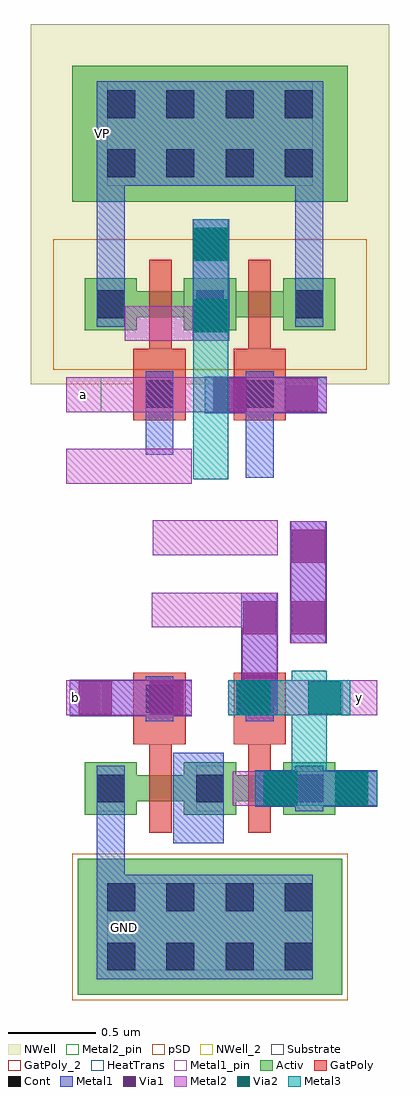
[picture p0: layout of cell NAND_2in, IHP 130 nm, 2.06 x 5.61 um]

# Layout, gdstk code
from math import pi, radians
import gdstk
lib = gdstk.Library(unit=1e-6, precision=1e-09)
def R(c, l, rs):  # rectangles x0, y0, x1, y1
    for r in rs: c.add(gdstk.rectangle(r[:2], r[2:], *l))
def A(c, l, x, y, w, h, nx, ny, dx, dy):  # array of equal rectangles
    R(c, l, [(x+i*dx, y+j*dy, x+i*dx+w, y+j*dy+h) for i in range(nx) for j in range(ny)])
Activ = (1, 0)
GatPoly = (5, 0)
GatPoly_2 = (5, 2)
Cont = (6, 0)
Metal1 = (8, 0)
Metal1_pin = (8, 2)
Metal2 = (10, 0)
Metal2_pin = (10, 2)
pSD = (14, 0)
Via1 = (19, 0)
Via2 = (29, 0)
Metal3 = (30, 0)
NWell = (31, 0)
NWell_2 = (31, 2)
Substrate = (40, 0)
HeatTrans = (51, 0)

via_2 = lib.new_cell('Via$2')
R(via_2, Metal1, [(-0.105,-0.35,0.105,0.35)])
R(via_2, Metal2, [(-0.1,-0.35,0.1,0.35)])
R(via_2, Via1, [(-0.095,-0.3,0.095,-0.11), (-0.095,0.11,0.095,0.3)])

nmos = lib.new_cell('nmos')
R(nmos, Activ, [(0,0,0.3,0.3), (0.57,0,0.87,0.3), (0,0.075,0.87,0.225)])
R(nmos, GatPoly, [(0.37,-0.105,0.5,0.405)])
R(nmos, GatPoly_2, [(0.37,-0.105,0.5,0.405)])
R(nmos, Cont, [(0.07,0.07,0.23,0.23), (0.64,0.07,0.8,0.23)])
R(nmos, Metal1, [(0.07,0.02,0.23,0.28), (0.64,0.02,0.8,0.28)])
R(nmos, Metal1_pin, [(0.07,0.02,0.23,0.28), (0.64,0.02,0.8,0.28)])
R(nmos, HeatTrans, [(0.37,-0.105,0.5,0.405)])
nmos.add(gdstk.Label('nmos', (0.435,0.15), layer=63, texttype=0))
nmos.add(gdstk.Label('nmos', (0.435,0.15), layer=51, texttype=0))

pmos = lib.new_cell('pmos')
R(pmos, Activ, [(0,0,0.3,0.3), (0.57,0,0.87,0.3), (0,0.075,0.87,0.225)])
R(pmos, GatPoly, [(0.37,-0.105,0.5,0.405), (0.37,-0.105,0.5,0.405)])
R(pmos, Cont, [(0.07,0.07,0.23,0.23), (0.64,0.07,0.8,0.23)])
R(pmos, Metal1, [(0.07,0.02,0.23,0.28), (0.07,0.02,0.23,0.28), (0.64,0.02,0.8,0.28), (0.64,0.02,0.8,0.28)])
R(pmos, pSD, [(-0.18,-0.225,1.05,0.525)])
R(pmos, NWell, [(-0.31,-0.31,1.18,0.61)])
R(pmos, Substrate, [(0.57,0,0.87,0.3)])
R(pmos, HeatTrans, [(0.37,-0.105,0.5,0.405)])
pmos.add(gdstk.Label('pmos', (0.435,0.15), layer=63, texttype=0))
pmos.add(gdstk.Label('pmos', (0.435,0.15), layer=51, texttype=0))

ntap1 = lib.new_cell('ntap1')
R(ntap1, Activ, [(0,0,1.58,0.78)])
A(ntap1, Cont, 0.2, 0.14, 0.16, 0.16, 4, 2, 0.34, 0.34)
R(ntap1, Metal1, [(0.2,0.09,1.38,0.69)])
R(ntap1, Metal1_pin, [(0.2,0.09,1.38,0.69), (0.2,0.14,1.38,0.64)])
R(ntap1, NWell, [(-0.24,-0.24,1.82,1.02), (0,0,1.58,0.78)])
R(ntap1, NWell_2, [(0,0,1.58,0.78)])
ntap1.add(gdstk.Label('well', (0.79,0.01), layer=63, texttype=0))
ntap1.add(gdstk.Label('well', (0.79,0.01), layer=31, texttype=0))

ptap1 = lib.new_cell('ptap1')
R(ptap1, Activ, [(0,0,1.52,0.78)])
A(ptap1, Cont, 0.17, 0.14, 0.16, 0.16, 4, 2, 0.34, 0.34)
R(ptap1, Metal1, [(0.17,0.09,1.35,0.69), (0.17,0.14,1.35,0.64)])
R(ptap1, Metal1_pin, [(0.17,0.14,1.35,0.64)])
R(ptap1, pSD, [(-0.03,-0.03,1.55,0.81)])
R(ptap1, Substrate, [(0,0,1.52,0.78)])
ptap1.add(gdstk.Label('sub!', (0.76,0.01), layer=63, texttype=0))
ptap1.add(gdstk.Label('sub!', (0.76,0.01), layer=40, texttype=0))

via = lib.new_cell('Via')
R(via, GatPoly, [(-0.15,-0.15,0.15,0.15)])
R(via, Cont, [(-0.08,-0.08,0.08,0.08)])
R(via, Metal1, [(-0.13,-0.08,0.13,0.08)])

via_7 = lib.new_cell('Via$7')
R(via_7, Metal2, [(-0.35,-0.1,0.35,0.1)])
R(via_7, Via2, [(-0.3,-0.095,-0.11,0.095), (0.11,-0.095,0.3,0.095)])
R(via_7, Metal3, [(-0.35,-0.1,0.35,0.1)])

via_4 = lib.new_cell('Via$4')
R(via_4, Metal2, [(-0.1,-0.35,0.1,0.35)])
R(via_4, Via2, [(-0.095,-0.3,0.095,-0.11), (-0.095,0.11,0.095,0.3)])
R(via_4, Metal3, [(-0.1,-0.35,0.1,0.35)])

nand_2in = lib.new_cell('NAND_2in')
R(nand_2in, GatPoly, [(6.865,7.63,7.165,7.74), (7.44,7.63,7.74,7.74), (6.865,9.79,7.165,9.9), (7.44,9.79,7.74,9.9)])
R(nand_2in, Metal1, [(7.095,7.06,7.385,7.58)])
R(nand_2in, Metal1_pin, [(6.715,6.475,6.915,6.675), (6.715,11.035,6.915,11.235)])
R(nand_2in, Metal2, [(6.48,7.795,7.2,7.995), (6.97,8.3,7.69,8.5), (6.975,8.715,7.695,8.915), (6.48,9.125,7.2,9.325)])
R(nand_2in, Metal2_pin, [(6.48,7.795,6.68,7.995), (8.065,7.795,8.265,7.995), (6.48,9.535,6.68,9.735)])
nand_2in.add(gdstk.FlexPath([(6.735,7.245),(6.735,6.88)], 0.16, ends="flush", simple_path=True, layer=8, datatype=0))  # Metal1
nand_2in.add(gdstk.FlexPath([(7.915,7.375),(7.915,7.375)], 0.16, ends="flush", simple_path=True, layer=8, datatype=0))  # Metal1
nand_2in.add(gdstk.FlexPath([(6.735,6.88),(6.735,6.28)], 0.16, ends="flush", simple_path=True, layer=8, datatype=0))  # Metal1
nand_2in.add(gdstk.FlexPath([(7.875,10.155),(7.875,10.835)], 0.16, ends="flush", simple_path=True, layer=8, datatype=0))  # Metal1
nand_2in.add(gdstk.FlexPath([(6.735,10.155),(6.735,10.835)], 0.16, ends="flush", simple_path=True, layer=8, datatype=0))  # Metal1
nand_2in.add(gdstk.FlexPath([(7.015,9.51),(7.015,9.29)], 0.16, ends="flush", simple_path=True, layer=8, datatype=0))  # Metal1
nand_2in.add(gdstk.FlexPath([(7.59,9.16),(7.59,9.51)], 0.16, ends="flush", simple_path=True, layer=8, datatype=0))  # Metal1
nand_2in.add(gdstk.FlexPath([(7.015,9.375),(7.015,9.375)], 0.16, ends="flush", simple_path=True, layer=8, datatype=0))  # Metal1
nand_2in.add(gdstk.FlexPath([(6.735,10.835),(6.735,11.435)], 0.16, ends="flush", simple_path=True, layer=8, datatype=0))  # Metal1
nand_2in.add(gdstk.FlexPath([(7.875,10.835),(7.875,11.435)], 0.16, ends="flush", simple_path=True, layer=8, datatype=0))  # Metal1
nand_2in.add(gdstk.FlexPath([(7.41,7.895),(8.265,7.895)], 0.2, ends="flush", simple_path=True, layer=10, datatype=0))  # Metal2
nand_2in.add(gdstk.FlexPath([(7.915,7.375),(7.915,7.375)], 0.2, ends="flush", simple_path=True, layer=10, datatype=0))  # Metal2
nand_2in.add(gdstk.FlexPath([(8.265,7.375),(7.435,7.375)], 0.2, ends="flush", simple_path=True, layer=10, datatype=0))  # Metal2
nand_2in.add(gdstk.FlexPath([(7.305,10.045),(6.815,10.045)], 0.2, ends="flush", simple_path=True, layer=10, datatype=0))  # Metal2
nand_2in.add(gdstk.FlexPath([(6.48,9.635),(7.975,9.635)], 0.2, ends="flush", simple_path=True, layer=10, datatype=0))  # Metal2
nand_2in.add(gdstk.FlexPath([(7.875,7.375),(7.875,8.05)], 0.2, ends="flush", simple_path=True, layer=30, datatype=0))  # Metal3
nand_2in.add(gdstk.FlexPath([(7.31,10.095),(7.31,9.15)], 0.2, ends="flush", simple_path=True, layer=30, datatype=0))  # Metal3
nand_2in.add(gdstk.FlexPath([(7.02,9.9),(7.02,9.9)], 0.16, ends="flush", simple_path=True, layer=5, datatype=0))  # GatPoly
nand_2in.add(gdstk.Reference(via_2, (6.85,7.895), rotation=3*pi/2))
nand_2in.add(gdstk.Reference(nmos, (6.585,7.225)))
nand_2in.add(gdstk.Reference(pmos, (6.585,10.005)))
nand_2in.add(gdstk.Reference(nmos, (7.155,7.225)))
nand_2in.add(gdstk.Reference(ntap1, (6.515,10.745)))
nand_2in.add(gdstk.Reference(ptap1, (6.545,6.19)))
nand_2in.add(gdstk.Reference(via, (7.015,9.64), rotation=pi/2))
nand_2in.add(gdstk.Reference(pmos, (7.155,10.005)))
nand_2in.add(gdstk.Reference(via, (7.59,9.64), rotation=pi/2))
nand_2in.add(gdstk.Reference(via, (7.59,7.89), rotation=3*pi/2))
nand_2in.add(gdstk.Reference(via, (7.015,7.89), rotation=3*pi/2))
nand_2in.add(gdstk.Reference(via_2, (7.625,9.635), rotation=3*pi/2))
nand_2in.add(gdstk.Reference(via_7, (7.76,7.895)))
nand_2in.add(gdstk.Reference(via_2, (7.31,10.295), rotation=pi))
nand_2in.add(gdstk.Reference(via_4, (7.31,10.295), rotation=pi))
nand_2in.add(gdstk.Reference(via_2, (7.915,7.375), rotation=3*pi/2))
nand_2in.add(gdstk.Reference(via_4, (7.915,7.375), rotation=3*pi/2))
nand_2in.add(gdstk.Reference(via_2, (7.59,8.15)))
nand_2in.add(gdstk.Reference(via_2, (7.87,8.56)))
nand_2in.add(gdstk.Label('b', (6.535,7.895), layer=10, texttype=25))
nand_2in.add(gdstk.Label('y', (8.165,7.895), layer=10, texttype=25))
nand_2in.add(gdstk.Label('a', (6.58,9.635), layer=10, texttype=25))
nand_2in.add(gdstk.Label('GND', (6.815,6.575), layer=8, texttype=25))
nand_2in.add(gdstk.Label('VP', (6.685,11.135), layer=8, texttype=25))

lib.write_gds('NAND_2in.gds')
